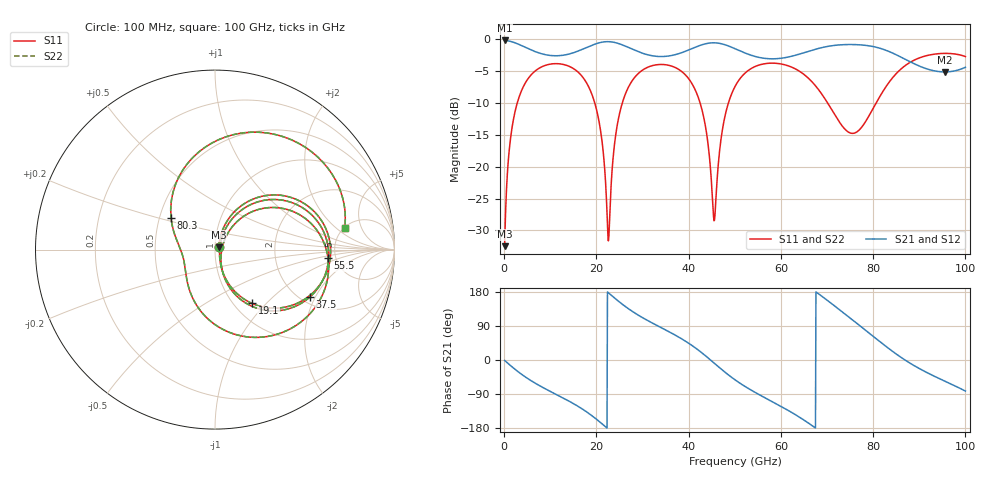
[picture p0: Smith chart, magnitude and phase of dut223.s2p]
! Touchstone file exported from HFSS 2026.1.0
!  File:  C:/ffzhzh/LocalFiles/Ansys_Project_Files/temp_train_TSV_RDL_223_1783663295_33328.aedt
!  Generated:  02:10:47 PM Jul 10, 2026
!  Design:  TSV_RDL
!  Project:  temp_train_TSV_RDL_223_1783663295_33328
! Variables:
!  h_bsmrdl = 2.04um
!  h_ox = 20um
!  h_rdl = 5um
!  h_sub = 56.67um
!  h_tmrdl = 4.55um
!  h_tsv = 56.67um
!  h_via = 3um
!  l_bsmrdl = 263.05um
!  l_sub = 2883um
!  l_tmrdl = 397.22um
!  m_sub = 200um
!  pitch = 57.3um
!  r_tsv = 5.57um
!  s_tmrdl = 10um
!  w_bsmrdl = 10.64um
!  w_sub = 500um
!  w_tmrdl = 24.35um
!  x_tsv_center1 = 409.395um
!  x_tsv_center2 = 683.085um
!  x_tsv_center3 = 1104.655um
!  x_tsv_center4 = 1378.345um
!  x_tsv_center5 = 1799.915um
!  x_tsv_center6 = 2073.605um
# GHz S MA R 50.000000
! Terminal data exported
! Port[1] = TM_RDL1_1_T1
! Port[2] = TM_RDL5_1_T1
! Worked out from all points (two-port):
!   1000 points, 100 MHz to 100 GHz, reference 50 ohm
!   highest |S21| = -0.18 dB at 100 MHz (marker M1); lowest = -5.1 dB at 95.5 GHz (marker M2)
!   |S21| within 3 dB of the highest: start of sweep to 87.07 GHz
!   lowest |S11| = -32.5 dB at 100 MHz (marker M3), VSWR 1.05, Z = 52.1 + j1.29 ohm
!   |S11| at or under -10 dB: 19.64 GHz to 25.62 GHz (5.972 GHz wide, 26.4 % of centre); 42.48 GHz to 48.62 GHz (6.136 GHz wide, 13.5 % of centre); 70.13 GHz to 80.65 GHz (10.51 GHz wide, 13.9 % of centre) (the widest 3 of 4)
!   |S22| runs from -32.5 to -2.2 dB; largest |S21 - S12| = 7.3e-14
!   S11 on the Smith chart (normalised r, x): 100 MHz: 1.04, +0.03; 19.1 GHz: 1.20, -0.83; 37.5 GHz: 2.22, -1.81; 55.5 GHz: 4.32, -0.69; 80.3 GHz: 0.58, +0.22; 100 GHz: 5.03, +2.66
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0.1  0.02376 31.4  0.9799 -1.1  0.9799 -1.1  0.02376 31.4
! Gamma 0 0 0 0
! Port Impedance 50 0 50 0
1.6  0.1906 66.0  0.9585 -16.9  0.9585 -16.9  0.1906 66.0
4.3  0.4348 44.4  0.8752 -42.3  0.8752 -42.3  0.4348 44.4
10.5  0.6424 2.6  0.7444 -86.0  0.7444 -86.0  0.6424 2.6
16.8  0.5171 -37.7  0.8301 -128.2  0.8301 -128.2  0.517 -37.7
19.1  0.3635 -55.5  0.9002 -147.7  0.9002 -147.7  0.3635 -55.6
22.6  0.02615 -5.8  0.959 177.4  0.959 177.4  0.02582 -5.8
25.9  0.3408 49.7  0.896 144.5  0.896 144.5  0.3407 49.7
33.4  0.6334 -1.6  0.7336 89.4  0.7336 89.4  0.6334 -1.6
37.5  0.5904 -26.7  0.7651 62.8  0.7651 62.8  0.5904 -26.7
42.7  0.2971 -64.0  0.9015 20.5  0.9015 20.5  0.2971 -64.1
45.5  0.03764 -15.8  0.9395 -7.8  0.9395 -7.8  0.03736 -15.9
47.5  0.2129 51.1  0.9154 -28.4  0.9154 -28.4  0.2128 51.2
50.1  0.4292 32.7  0.8425 -52.7  0.8425 -52.7  0.4291 32.8
55.5  0.6319 -4.3  0.7183 -92.8  0.7183 -92.8  0.6318 -4.3
66.7  0.4655 -80.7  0.8198 -172.6  0.8198 -172.6  0.4654 -80.6
74.6  0.1873 -155.2  0.9104 114.6  0.9104 114.6  0.1873 -155.0
80.3  0.3002 144.4  0.8729 59.6  0.8729 59.6  0.3004 144.6
83.4  0.4573 115.5  0.8038 30.1  0.8038 30.1  0.4576 115.6
88.9  0.6865 72.3  0.6431 -14.9  0.6431 -14.9  0.6868 72.3
95.5  0.7757 33.8  0.5548 -55.6  0.5548 -55.6  0.776 33.8
100  0.7326 9.6  0.6031 -81.9  0.6031 -81.9  0.7328 9.6
